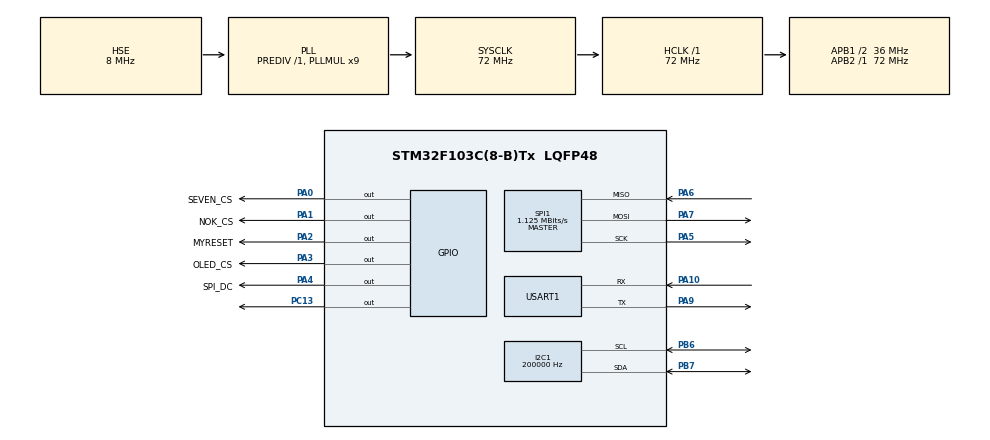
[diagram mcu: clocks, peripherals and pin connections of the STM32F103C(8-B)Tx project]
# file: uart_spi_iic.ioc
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Dma.Request0=USART1_TX
Dma.Request1=USART1_RX
Dma.Request2=SPI1_TX
Dma.Request3=SPI1_RX
Dma.SPI1_RX.3.Direction=DMA_PERIPH_TO_MEMORY
Dma.SPI1_RX.3.Instance=DMA1_Channel2
Dma.SPI1_RX.3.MemDataAlignment=DMA_MDATAALIGN_BYTE
Dma.SPI1_RX.3.MemInc=DMA_MINC_ENABLE
Dma.SPI1_RX.3.Mode=DMA_NORMAL
Dma.SPI1_RX.3.PeriphDataAlignment=DMA_PDATAALIGN_BYTE
Dma.SPI1_RX.3.PeriphInc=DMA_PINC_DISABLE
Dma.SPI1_RX.3.Priority=DMA_PRIORITY_LOW
Dma.SPI1_TX.2.Direction=DMA_MEMORY_TO_PERIPH
Dma.SPI1_TX.2.Instance=DMA1_Channel3
Dma.SPI1_TX.2.MemDataAlignment=DMA_MDATAALIGN_BYTE
Dma.SPI1_TX.2.MemInc=DMA_MINC_ENABLE
Dma.SPI1_TX.2.Mode=DMA_NORMAL
Dma.SPI1_TX.2.PeriphDataAlignment=DMA_PDATAALIGN_BYTE
Dma.SPI1_TX.2.PeriphInc=DMA_PINC_DISABLE
Dma.SPI1_TX.2.Priority=DMA_PRIORITY_LOW
Dma.USART1_RX.1.Direction=DMA_PERIPH_TO_MEMORY
Dma.USART1_RX.1.Instance=DMA1_Channel5
Dma.USART1_RX.1.MemDataAlignment=DMA_MDATAALIGN_BYTE
Dma.USART1_RX.1.MemInc=DMA_MINC_ENABLE
Dma.USART1_RX.1.Mode=DMA_NORMAL
Dma.USART1_RX.1.PeriphDataAlignment=DMA_PDATAALIGN_BYTE
Dma.USART1_RX.1.PeriphInc=DMA_PINC_DISABLE
Dma.USART1_RX.1.Priority=DMA_PRIORITY_LOW
Dma.USART1_TX.0.Direction=DMA_MEMORY_TO_PERIPH
Dma.USART1_TX.0.Instance=DMA1_Channel4
Dma.USART1_TX.0.MemDataAlignment=DMA_MDATAALIGN_BYTE
Dma.USART1_TX.0.MemInc=DMA_MINC_ENABLE
Dma.USART1_TX.0.Mode=DMA_NORMAL
Dma.USART1_TX.0.PeriphDataAlignment=DMA_PDATAALIGN_BYTE
Dma.USART1_TX.0.PeriphInc=DMA_PINC_DISABLE
Dma.USART1_TX.0.Priority=DMA_PRIORITY_LOW
I2C1.ClockSpeed=200000
I2C1.I2C_Mode=I2C_Fast
Mcu.Family=STM32F1
Mcu.Name=STM32F103C(8-B)Tx
Mcu.Package=LQFP48
NVIC.DMA1_Channel2_IRQn=true\:0\:0\:false\:false\:true
NVIC.DMA1_Channel3_IRQn=true\:0\:0\:false\:false\:true
NVIC.DMA1_Channel4_IRQn=true\:0\:0\:false\:false\:true
NVIC.DMA1_Channel5_IRQn=true\:0\:0\:false\:false\:true
NVIC.I2C1_ER_IRQn=true\:0\:0\:false\:false\:true
NVIC.I2C1_EV_IRQn=true\:0\:0\:false\:false\:true
NVIC.PriorityGroup=NVIC_PRIORITYGROUP_4
NVIC.SPI1_IRQn=true\:0\:0\:false\:false\:true
NVIC.USART1_IRQn=true\:0\:0\:false\:false\:true
PA0-WKUP.GPIO_Label=SEVEN_CS
PA0-WKUP.Signal=GPIO_Output
PA1.GPIO_Label=NOK_CS
PA1.Signal=GPIO_Output
PA10.Mode=Asynchronous
PA10.Signal=USART1_RX
PA13.Mode=Serial_Wire
PA13.Signal=SYS_JTMS-SWDIO
PA14.Mode=Serial_Wire
PA14.Signal=SYS_JTCK-SWCLK
PA2.GPIO_Label=MYRESET
PA2.Signal=GPIO_Output
PA3.GPIO_Label=OLED_CS
PA3.Signal=GPIO_Output
PA4.GPIO_Label=SPI_DC
PA4.Signal=GPIO_Output
PA5.Mode=Full_Duplex_Master
PA5.Signal=SPI1_SCK
PA6.Mode=Full_Duplex_Master
PA6.Signal=SPI1_MISO
PA7.Mode=Full_Duplex_Master
PA7.Signal=SPI1_MOSI
PA9.Mode=Asynchronous
PA9.Signal=USART1_TX
PB6.Mode=I2C
PB6.Signal=I2C1_SCL
PB7.Mode=I2C
PB7.Signal=I2C1_SDA
PC13-TAMPER-RTC.Signal=GPIO_Output
PD0-OSC_IN.Mode=HSE-External-Oscillator
PD0-OSC_IN.Signal=RCC_OSC_IN
PD1-OSC_OUT.Mode=HSE-External-Oscillator
PD1-OSC_OUT.Signal=RCC_OSC_OUT
ProjectManager.HeapSize=0x200
ProjectManager.StackSize=0x400
ProjectManager.TargetToolchain=Makefile
RCC.AHBFreq_Value=72000000
RCC.APB1CLKDivider=RCC_HCLK_DIV2
RCC.APB1Freq_Value=36000000
RCC.APB1TimFreq_Value=72000000
RCC.APB2Freq_Value=72000000
RCC.APB2TimFreq_Value=72000000
RCC.HCLKFreq_Value=72000000
RCC.PLLMUL=RCC_PLL_MUL9
RCC.PLLSourceVirtual=RCC_PLLSOURCE_HSE
RCC.SYSCLKFreq_VALUE=72000000
RCC.SYSCLKSource=RCC_SYSCLKSOURCE_PLLCLK
RCC.USBFreq_Value=72000000
SPI1.BaudRatePrescaler=SPI_BAUDRATEPRESCALER_64
SPI1.CalculateBaudRate=1.125 MBits/s
SPI1.Direction=SPI_DIRECTION_2LINES
SPI1.Mode=SPI_MODE_MASTER
SPI1.VirtualType=VM_MASTER
USART1.VirtualMode=VM_ASYNC
board=uart_spi_iic

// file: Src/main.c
/**
  ******************************************************************************
  * File Name          : main.c
  * Description        : Main program body
  ******************************************************************************
  ** This notice applies to any and all portions of this file
  * that are not between comment pairs USER CODE BEGIN and
  * USER CODE END. Other portions of this file, whether
  * inserted by the user or by software development tools
  * are owned by their respective copyright owners.
  *
  * COPYRIGHT(c) 2017 STMicroelectronics
  *
  * Redistribution and use in source and binary forms, with or without modification,
  * are permitted provided that the following conditions are met:
  *   1. Redistributions of source code must retain the above copyright notice,
  *      this list of conditions and the following disclaimer.
  *   2. Redistributions in binary form must reproduce the above copyright notice,
  *      this list of conditions and the following disclaimer in the documentation
  *      and/or other materials provided with the distribution.
  *   3. Neither the name of STMicroelectronics nor the names of its contributors
  *      may be used to endorse or promote products derived from this software
  *      without specific prior written permission.
  *
  * THIS SOFTWARE IS PROVIDED BY THE COPYRIGHT HOLDERS AND CONTRIBUTORS "AS IS"
  * AND ANY EXPRESS OR IMPLIED WARRANTIES, INCLUDING, BUT NOT LIMITED TO, THE
  * IMPLIED WARRANTIES OF MERCHANTABILITY AND FITNESS FOR A PARTICULAR PURPOSE ARE
  * DISCLAIMED. IN NO EVENT SHALL THE COPYRIGHT HOLDER OR CONTRIBUTORS BE LIABLE
  * FOR ANY DIRECT, INDIRECT, INCIDENTAL, SPECIAL, EXEMPLARY, OR CONSEQUENTIAL
  * DAMAGES (INCLUDING, BUT NOT LIMITED TO, PROCUREMENT OF SUBSTITUTE GOODS OR
  * SERVICES; LOSS OF USE, DATA, OR PROFITS; OR BUSINESS INTERRUPTION) HOWEVER
  * CAUSED AND ON ANY THEORY OF LIABILITY, WHETHER IN CONTRACT, STRICT LIABILITY,
  * OR TORT (INCLUDING NEGLIGENCE OR OTHERWISE) ARISING IN ANY WAY OUT OF THE USE
  * OF THIS SOFTWARE, EVEN IF ADVISED OF THE POSSIBILITY OF SUCH DAMAGE.
  *
  ******************************************************************************
  */
#include "main.h"
#include "stm32f1xx_hal.h"
#include "dma.h"
#include "i2c.h"
#include "spi.h"
#include "usart.h"
#include "gpio.h"

/* USER CODE BEGIN Includes */

#include "OLED.h"
#include "u8g2.h"

/* USER CODE END Includes */

/* USER CODE BEGIN PV */
/* Private variables ---------------------------------------------------------*/
u8g2_t u8g2_iic;
u8g2_t u8g2_spi;
u8g2_t u8g2_nokia;

const uint32_t update_interval = 1000;

#define UNUSEDVAR __attribute__ ((unused))

#define test_width 16
#define test_height 7
 UNUSEDVAR static const uint8_t test_bits[] = {
   0x13, 0x00,
   0x15, 0x00,
   0x93, 0xcd,
   0x55, 0xa5,
   0x93, 0xc5,
   0x00, 0x80,
   0x00, 0x60
 };

#define xlogo64_width 64
#define xlogo64_height 64
UNUSEDVAR static unsigned char xlogo64_bits[] = {
   0xff, 0xff, 0x00, 0x00, 0x00, 0x00, 0x00, 0xf8, 0xfe, 0xff, 0x01, 0x00,
   0x00, 0x00, 0x00, 0xf8, 0xfc, 0xff, 0x03, 0x00, 0x00, 0x00, 0x00, 0x7c,
   0xf8, 0xff, 0x07, 0x00, 0x00, 0x00, 0x00, 0x3e, 0xf8, 0xff, 0x07, 0x00,
   0x00, 0x00, 0x00, 0x1f, 0xf0, 0xff, 0x0f, 0x00, 0x00, 0x00, 0x80, 0x0f,
   0xe0, 0xff, 0x1f, 0x00, 0x00, 0x00, 0x80, 0x0f, 0xc0, 0xff, 0x3f, 0x00,
   0x00, 0x00, 0xc0, 0x07, 0xc0, 0xff, 0x3f, 0x00, 0x00, 0x00, 0xe0, 0x03,
   0x80, 0xff, 0x7f, 0x00, 0x00, 0x00, 0xf0, 0x01, 0x00, 0xff, 0xff, 0x00,
   0x00, 0x00, 0xf8, 0x00, 0x00, 0xfe, 0xff, 0x01, 0x00, 0x00, 0xf8, 0x00,
   0x00, 0xfe, 0xff, 0x01, 0x00, 0x00, 0x7c, 0x00, 0x00, 0xfc, 0xff, 0x03,
   0x00, 0x00, 0x3e, 0x00, 0x00, 0xf8, 0xff, 0x07, 0x00, 0x00, 0x1f, 0x00,
   0x00, 0xf0, 0xff, 0x0f, 0x00, 0x80, 0x0f, 0x00, 0x00, 0xf0, 0xff, 0x0f,
   0x00, 0xc0, 0x07, 0x00, 0x00, 0xe0, 0xff, 0x1f, 0x00, 0xc0, 0x07, 0x00,
   0x00, 0xc0, 0xff, 0x3f, 0x00, 0xe0, 0x03, 0x00, 0x00, 0x80, 0xff, 0x7f,
   0x00, 0xf0, 0x01, 0x00, 0x00, 0x80, 0xff, 0x7f, 0x00, 0xf8, 0x00, 0x00,
   0x00, 0x00, 0xff, 0xff, 0x00, 0x7c, 0x00, 0x00, 0x00, 0x00, 0xfe, 0xff,
   0x01, 0x7c, 0x00, 0x00, 0x00, 0x00, 0xfc, 0xff, 0x03, 0x3e, 0x00, 0x00,
   0x00, 0x00, 0xfc, 0xff, 0x03, 0x1f, 0x00, 0x00, 0x00, 0x00, 0xf8, 0xff,
   0x87, 0x0f, 0x00, 0x00, 0x00, 0x00, 0xf0, 0xff, 0xcf, 0x07, 0x00, 0x00,
   0x00, 0x00, 0xe0, 0xff, 0xcf, 0x07, 0x00, 0x00, 0x00, 0x00, 0xe0, 0xff,
   0xe7, 0x03, 0x00, 0x00, 0x00, 0x00, 0xc0, 0xff, 0xf3, 0x01, 0x00, 0x00,
   0x00, 0x00, 0x80, 0xff, 0xf9, 0x00, 0x00, 0x00, 0x00, 0x00, 0x00, 0xff,
   0xfc, 0x00, 0x00, 0x00, 0x00, 0x00, 0x00, 0x7f, 0xfe, 0x00, 0x00, 0x00,
   0x00, 0x00, 0x00, 0x7e, 0xfe, 0x01, 0x00, 0x00, 0x00, 0x00, 0x00, 0x3e,
   0xff, 0x03, 0x00, 0x00, 0x00, 0x00, 0x00, 0x9f, 0xff, 0x07, 0x00, 0x00,
   0x00, 0x00, 0x80, 0xcf, 0xff, 0x07, 0x00, 0x00, 0x00, 0x00, 0xc0, 0xe7,
   0xff, 0x0f, 0x00, 0x00, 0x00, 0x00, 0xc0, 0xe7, 0xff, 0x1f, 0x00, 0x00,
   0x00, 0x00, 0xe0, 0xc3, 0xff, 0x3f, 0x00, 0x00, 0x00, 0x00, 0xf0, 0xc1,
   0xff, 0x3f, 0x00, 0x00, 0x00, 0x00, 0xf8, 0x80, 0xff, 0x7f, 0x00, 0x00,
   0x00, 0x00, 0x7c, 0x00, 0xff, 0xff, 0x00, 0x00, 0x00, 0x00, 0x7c, 0x00,
   0xfe, 0xff, 0x01, 0x00, 0x00, 0x00, 0x3e, 0x00, 0xfe, 0xff, 0x01, 0x00,
   0x00, 0x00, 0x1f, 0x00, 0xfc, 0xff, 0x03, 0x00, 0x00, 0x80, 0x0f, 0x00,
   0xf8, 0xff, 0x07, 0x00, 0x00, 0xc0, 0x07, 0x00, 0xf0, 0xff, 0x0f, 0x00,
   0x00, 0xe0, 0x03, 0x00, 0xf0, 0xff, 0x0f, 0x00, 0x00, 0xe0, 0x03, 0x00,
   0xe0, 0xff, 0x1f, 0x00, 0x00, 0xf0, 0x01, 0x00, 0xc0, 0xff, 0x3f, 0x00,
   0x00, 0xf8, 0x00, 0x00, 0x80, 0xff, 0x7f, 0x00, 0x00, 0x7c, 0x00, 0x00,
   0x80, 0xff, 0x7f, 0x00, 0x00, 0x3e, 0x00, 0x00, 0x00, 0xff, 0xff, 0x00,
   0x00, 0x3e, 0x00, 0x00, 0x00, 0xfe, 0xff, 0x01, 0x00, 0x1f, 0x00, 0x00,
   0x00, 0xfc, 0xff, 0x03, 0x80, 0x0f, 0x00, 0x00, 0x00, 0xfc, 0xff, 0x03,
   0xc0, 0x07, 0x00, 0x00, 0x00, 0xf8, 0xff, 0x07, 0xe0, 0x03, 0x00, 0x00,
   0x00, 0xf0, 0xff, 0x0f, 0xe0, 0x03, 0x00, 0x00, 0x00, 0xe0, 0xff, 0x1f,
   0xf0, 0x01, 0x00, 0x00, 0x00, 0xe0, 0xff, 0x1f, 0xf8, 0x00, 0x00, 0x00,
   0x00, 0xc0, 0xff, 0x3f, 0x7c, 0x00, 0x00, 0x00, 0x00, 0x80, 0xff, 0x7f,
   0x3e, 0x00, 0x00, 0x00, 0x00, 0x00, 0xff, 0xff};

// convert lydia.jpg -crop 64x64 -monochrome -negate lydia.xbm
#define lydia_width 64
#define lydia_height 64
static unsigned char lydia_bits[] = {
  0xE0, 0xFF, 0xFF, 0xFF, 0xFF, 0xFF, 0xFF, 0xFF, 0xF0, 0xFF, 0xFF, 0xFF,
  0xFF, 0xFF, 0xDF, 0xFF, 0xF0, 0xFF, 0xFF, 0xFF, 0xFF, 0xFF, 0xFF, 0xFF,
  0xF8, 0xFF, 0xFF, 0xFF, 0xFF, 0xFF, 0xFF, 0xFF, 0xFC, 0xFF, 0xFF, 0xFF,
  0xFF, 0xFF, 0xFF, 0xFF, 0xFE, 0xFF, 0xFF, 0xFF, 0xFF, 0xFF, 0xFF, 0xFF,
  0xFF, 0xFF, 0xFF, 0xFF, 0xFF, 0xFF, 0xFF, 0xFF, 0xFF, 0xFF, 0xFF, 0xFF,
  0xFF, 0xFF, 0xFF, 0xFF, 0xFF, 0xFF, 0xFF, 0xFF, 0xDF, 0xFF, 0xFF, 0xFF,
  0xFF, 0xFF, 0x7F, 0xAB, 0xFA, 0xF7, 0xFF, 0xFF, 0xFF, 0xFF, 0xFF, 0xBA,
  0xFF, 0xFD, 0xFF, 0xFF, 0xFF, 0xFF, 0xFF, 0xDF, 0x6A, 0xFF, 0xFF, 0xFF,
  0xFF, 0xFF, 0xFF, 0x2F, 0xF5, 0xFF, 0xFF, 0xFF, 0xFF, 0xFF, 0xFE, 0xF5,
  0xF7, 0xFF, 0xFF, 0xFF, 0xFF, 0xFF, 0xEB, 0xDE, 0xEA, 0xFF, 0xFF, 0xFF,
  0xFF, 0xD7, 0xAE, 0x37, 0xFF, 0xFF, 0xFF, 0xFF, 0xFF, 0x5B, 0x7B, 0xB3,
  0xF7, 0xFF, 0xFF, 0xFF, 0xFF, 0xA5, 0xDD, 0xDE, 0xFC, 0xFF, 0xFF, 0xFF,
  0x7F, 0xDA, 0xFF, 0x4F, 0xFD, 0xFF, 0xFF, 0xFF, 0xFF, 0xA5, 0xFB, 0xBB,
  0xFE, 0xFF, 0xFF, 0xFF, 0xFF, 0xEA, 0xFF, 0x67, 0xFD, 0xFF, 0xFF, 0xFF,
  0x7F, 0xD6, 0xFF, 0xBF, 0xFA, 0xFF, 0xFF, 0xFF, 0x3F, 0xF0, 0xFF, 0xBF,
  0xFE, 0xFF, 0xFF, 0xFF, 0xBF, 0xEC, 0xFF, 0xDF, 0xF9, 0xFF, 0xFF, 0xFF,
  0x7F, 0x18, 0xF9, 0x6B, 0xFA, 0xFF, 0xED, 0xFF, 0x7F, 0x40, 0xA6, 0xBF,
  0xF6, 0xFF, 0xFF, 0xFF, 0x7F, 0x00, 0x96, 0x9B, 0xFB, 0xFF, 0xFF, 0xFF,
  0x3F, 0x00, 0xFD, 0x5A, 0xFE, 0xFF, 0xFB, 0xFF, 0x3F, 0x00, 0xB4, 0xD5,
  0xFE, 0x7F, 0xFA, 0xFF, 0x3F, 0x00, 0xD8, 0x1A, 0xFB, 0xFF, 0xFF, 0xFF,
  0x7F, 0x00, 0x62, 0xC3, 0xFA, 0xFF, 0xFB, 0xFF, 0x7F, 0x00, 0x98, 0x00,
  0xFD, 0xFF, 0xFA, 0xFF, 0x7F, 0x00, 0xA0, 0x04, 0xF4, 0x7F, 0x77, 0xFF,
  0x3F, 0x00, 0x40, 0x23, 0xA0, 0xFF, 0xE9, 0xFF, 0x3F, 0x00, 0x98, 0x02,
  0xCC, 0x7F, 0xFE, 0xFF, 0x3F, 0x00, 0x60, 0x05, 0xF0, 0xFF, 0xA5, 0xFF,
  0x3F, 0x00, 0xC0, 0xC2, 0xEB, 0xBE, 0xE9, 0xFF, 0x7F, 0x00, 0x58, 0x81,
  0xF0, 0xFF, 0xAE, 0xFF, 0x3F, 0x00, 0xF8, 0x01, 0xE0, 0x7F, 0xF5, 0xFF,
  0x3F, 0x00, 0x22, 0x00, 0xF4, 0xFF, 0xAA, 0xFF, 0x7F, 0x00, 0x34, 0x40,
  0xF4, 0xFF, 0xE5, 0xFF, 0x7F, 0x00, 0x5A, 0x00, 0xA9, 0xFB, 0xBB, 0xFF,
  0x3F, 0x00, 0x24, 0x00, 0x64, 0xFF, 0xA7, 0xFF, 0x7F, 0x00, 0x5A, 0x00,
  0xD9, 0xFF, 0xE5, 0xFF, 0xFF, 0x00, 0x1A, 0x00, 0xFA, 0xFF, 0x67, 0xFF,
  0x7F, 0x80, 0xAD, 0xB6, 0xFA, 0xFF, 0xE7, 0xFF, 0xFF, 0x00, 0xF8, 0xA5,
  0xED, 0xFA, 0xD7, 0xFF, 0x7F, 0x00, 0xFE, 0x01, 0xA8, 0xFF, 0xE7, 0xFF,
  0xFF, 0x01, 0xDE, 0x03, 0x00, 0xFF, 0xE3, 0xFF, 0xFF, 0x01, 0xA8, 0x07,
  0xC0, 0xFF, 0xDB, 0xFF, 0xFF, 0x03, 0x3E, 0x06, 0xFC, 0xFF, 0xF7, 0xFF,
  0xFF, 0x03, 0x00, 0x20, 0xAA, 0xFF, 0xFF, 0xFF, 0xFF, 0x07, 0x0D, 0x80,
  0xED, 0xFF, 0xF7, 0xFF, 0xFF, 0x8F, 0x00, 0x00, 0xF6, 0xFF, 0xF9, 0xFF,
  0xFF, 0x1F, 0x00, 0xC0, 0xD5, 0xFF, 0xFF, 0xFF, 0xFF, 0x5F, 0x02, 0x00,
  0xDA, 0xFF, 0xFF, 0xFF, 0xFF, 0xFF, 0x00, 0x00, 0x6A, 0xFE, 0xFF, 0xFF,
  0xFF, 0xFF, 0x01, 0x00, 0x95, 0xFF, 0xFF, 0xFF, 0xFF, 0xFF, 0x01, 0x00,
  0xEC, 0xF6, 0xFF, 0xFF, 0xFF, 0xFF, 0x1F, 0x00, 0x40, 0xFF, 0xFF, 0xFF,
  0xFF, 0xFF, 0x0F, 0x00, 0xB0, 0xFF, 0xFF, 0xFF, 0xFF, 0xFF, 0x3F, 0x00,
  0x80, 0xFE, 0xFF, 0xFF, 0xFE, 0xFF, 0x7F, 0x00, 0xA8, 0xFF, 0xFF, 0xFF,
  0xFF, 0xFF, 0xFF, 0x00, 0x90, 0xFF, 0xFF, 0xFF, };

/* USER CODE END PV */

void SystemClock_Config(void);

/* USER CODE BEGIN PFP */
/* Private function prototypes -----------------------------------------------*/

/* USER CODE END PFP */

/* USER CODE BEGIN 0 */
void delayLoop() {
        volatile uint32_t delayCount = 10000; // volatile, um "Wegoptimieren" zu vermeinden
                                               //(http://en.wikipedia.org/wiki/Volatile_variable)
        while (delayCount > 0) {
                delayCount--;
        }
}

void HAL_UART_TxCpltCallback(UART_HandleTypeDef *huart)
{
  HAL_UART_StateTypeDef state = HAL_UART_GetState(huart);
  if (state == HAL_UART_STATE_READY) {

  } else {

  }
}

void HAL_SPI_TxCpltCallback(SPI_HandleTypeDef *hspi)
{
  HAL_SPI_StateTypeDef state = HAL_SPI_GetState(hspi);
  if (state == HAL_SPI_STATE_READY) {

  } else {

  }

}

void byte_at_string(uint8_t *str, int i)
{

  str[2] = '0' + i%10;
  str[1] = '0' + (i/10)%10;
  str[0] = '0' + (i/100)%10;

}
void btoa(uint8_t i, uint8_t *str)
{
  str[2] = '0' + i%10;
  str[1] = '0' + (i/10)%10;
  str[0] = '0' + (i/100)%10;
}

void itoa(uint32_t i, uint8_t *str)
{
  str[4] = '0' + i%10;
  str[3] = '0' + (i/10)%10;
  str[2] = '0' + (i/100)%10;
  str[1] = '0' + (i/1000)%10;
  str[0] = '0' + (i/10000)%10;
}

void hex_at_string(uint8_t *str, int i)
{
  uint8_t lower = i&0xF;
  uint8_t upper = (i&0xF0) >> 4;

  if (lower < 10) {
    str[1] = '0' + lower;
  } else {
    str[1] = 'A' + lower - 10;
  }
  if (upper < 10) {
    str[0] = '0' + upper;
  } else {
    str[0] = 'A' + upper - 10;
  }
}

int my_I2C_GET_FLAG(I2C_HandleTypeDef* __HANDLE__,
                    uint32_t __FLAG__)
{
  // #define I2C_FLAG_BUSY                   ((uint32_t)0x0010 0002)
  // #define I2C_FLAG_MASK                   ((uint32_t)0x0000 FFFF)
  if (((uint8_t)((__FLAG__) >> 16)) == 0x01) {
    return (__HANDLE__->Instance->SR1 & __FLAG__ & I2C_FLAG_MASK) == (__FLAG__ & I2C_FLAG_MASK);
  } else {
    return (__HANDLE__->Instance->SR2 & __FLAG__ & I2C_FLAG_MASK) == (__FLAG__ & I2C_FLAG_MASK);
  }
}

void sendUARTmsgPoll(uint8_t *msg, uint16_t length) {
  while (HAL_UART_GetState(&huart1) != HAL_UART_STATE_READY) {/*empty*/}
  HAL_UART_Transmit(&huart1, msg, length, HAL_MAX_DELAY);

}

uint32_t amountsent =0;
//extern "C"

uint8_t
u8x8_byte_my_hw_i2c(
  U8X8_UNUSED u8x8_t *u8x8,
  U8X8_UNUSED uint8_t msg,
  U8X8_UNUSED uint8_t arg_int,
  U8X8_UNUSED void *arg_ptr)
{
#define MAX_LEN 32
  static uint8_t vals[MAX_LEN];
  static uint8_t length=0;

  U8X8_UNUSED uint8_t *args = arg_ptr;
  switch(msg)  {
  case U8X8_MSG_BYTE_SEND: {
    if ((arg_int+length) <= MAX_LEN) {
      for(int i=0; i<arg_int; i++) {
        vals[length] = args[i];
        length++;
      }
    } else {
      uint8_t umsg[] = "MSG_BYTE_SEND arg too long xxx\n";
      byte_at_string(umsg+27, arg_int);
      sendUARTmsgPoll(umsg, sizeof(umsg));
    }
    uint8_t umsg[] = "MSG_BYTE_SEND 0xxx\n";
    // 00 AE = display off
    // 00 D5 = set display clock
    // 00 80    divide ratio
    // 00 A8 = set multiplex ratio
    // 00 3F    64 mux
    // 00 D3 = set display offset
    // 00 00
    // 00 40 - 00 7F set display start line

    hex_at_string(umsg+16, args[0]);
    //sendUARTmsgPoll(umsg, sizeof(umsg));
    break;
  }
  case U8X8_MSG_BYTE_INIT: {
    uint8_t umsg[] = "MSG_BYTE_INIT xxx\n";
    byte_at_string(umsg+14, arg_int);
    //sendUARTmsgPoll(umsg, sizeof(umsg));
    break;
  }
  case U8X8_MSG_BYTE_SET_DC: {
    uint8_t umsg[] = "MSG_BYTE_SET_DC xxx\n";
    byte_at_string(umsg+15, arg_int);
    sendUARTmsgPoll(umsg, sizeof(umsg));
    break;
  }
  case U8X8_MSG_BYTE_START_TRANSFER: {
    UNUSEDVAR uint8_t umsg[] = "MSG_BYTE_START\n";
    //sendUARTmsgPoll(umsg, sizeof(umsg));
    length = 0;
    break;
  }
  case U8X8_MSG_BYTE_END_TRANSFER: {
    UNUSEDVAR uint8_t umsg[] = "MSG_BYTE_END xxxxx\n";
    itoa(length, umsg+13);
    //sendUARTmsgPoll(umsg, sizeof(umsg));
    while(HAL_I2C_GetState (&hi2c1) != HAL_I2C_STATE_READY) { /* empty */ }
    const uint8_t addr = 0x78;
    HAL_I2C_Master_Transmit(&hi2c1, addr, vals, length, 10);
    amountsent+= length;
    break;
  }
  default: {
    uint8_t umsg[] = "MSG_BYTE_DEFAULT xxx\n";
    byte_at_string(umsg+17, arg_int);
    //sendUARTmsgPoll(umsg, sizeof(umsg));
    return 0;
  }
  }
  return 1;
}

// a typical sequence for init display
// U8X8_MSG_BYTE_INIT

uint8_t
u8x8_byte_my_hw_spi(
  U8X8_UNUSED u8x8_t *u8x8,
  U8X8_UNUSED uint8_t msg,
  U8X8_UNUSED uint8_t arg_int,
  U8X8_UNUSED void *arg_ptr,
  GPIO_TypeDef *CSPORT,
  uint32_t      CSSET,
  uint32_t      CSRESET
  )
{
  const uint8_t senduart = 0;

  U8X8_UNUSED uint8_t *args = arg_ptr;
  switch(msg)  {
  case U8X8_MSG_BYTE_SEND: {
    while(HAL_SPI_GetState (&hspi1) != HAL_SPI_STATE_READY) { /* empty */ }
    HAL_SPI_Transmit (&hspi1, arg_ptr, arg_int, HAL_MAX_DELAY);
    amountsent+= arg_int;

    if (senduart) {
      uint8_t umsg[] = "MSG_BYTE_SEND xxx\n";
      byte_at_string(umsg+14, arg_int);
      sendUARTmsgPoll(umsg, sizeof(umsg));
    }
    if (senduart) {
      uint8_t umsg[] = "MSG_BYTE_SEND 0xxx\n";
      // 00 AE = display off
      // 00 D5 = set display clock
      // 00 80    divide ratio
      // 00 A8 = set multiplex ratio
      // 00 3F    64 mux
      // 00 D3 = set display offset
      // 00 00
      // 00 40 - 00 7F set display start line
      hex_at_string(umsg+16, args[0]);
      sendUARTmsgPoll(umsg, sizeof(umsg));
    }

    break;
  }
  case U8X8_MSG_BYTE_INIT: {
    if (senduart) {
      uint8_t umsg[] = "MSG_BYTE_INIT xxx\n";
      byte_at_string(umsg+14, arg_int);
      sendUARTmsgPoll(umsg, sizeof(umsg));
    }
    break;
  }
  case U8X8_MSG_BYTE_SET_DC: {
    if (arg_int) {
      GPIOA->BSRR = GPIO_BSRR_BS4;
    } else {
      GPIOA->BSRR = GPIO_BSRR_BR4;
    }
    if (senduart) {
      uint8_t umsg[] = "MSG_BYTE_SET_DC xxx\n";
      byte_at_string(umsg+16, arg_int);
      sendUARTmsgPoll(umsg, sizeof(umsg));
    }
    break;
  }
  case U8X8_MSG_BYTE_START_TRANSFER: {
    CSPORT->BSRR = CSRESET;

    if (senduart) {
      UNUSEDVAR uint8_t umsg[] = "MSG_BYTE_START\n";
      sendUARTmsgPoll(umsg, sizeof(umsg));
    }
    break;
  }
  case U8X8_MSG_BYTE_END_TRANSFER: {
    CSPORT->BSRR = CSSET;
    if (senduart) {
      UNUSEDVAR uint8_t umsg[] = "MSG_BYTE_END\n";
      sendUARTmsgPoll(umsg, sizeof(umsg));
    }
    break;
  }
  default: {
    if (senduart) {
      uint8_t umsg[] = "MSG_BYTE_DEFAULT xxx\n";
      byte_at_string(umsg+17, arg_int);
      sendUARTmsgPoll(umsg, sizeof(umsg));
    }
    return 0;
  }
  }
  return 1;
}

uint8_t
u8x8_byte_my_hw_spi_oled(
  U8X8_UNUSED u8x8_t *u8x8,
  U8X8_UNUSED uint8_t msg,
  U8X8_UNUSED uint8_t arg_int,
  U8X8_UNUSED void *arg_ptr)
{
  return u8x8_byte_my_hw_spi(u8x8, msg, arg_int, arg_ptr,
                             OLED_CS_GPIO_Port, GPIO_BSRR_BS3, GPIO_BSRR_BR3);
}
uint8_t
u8x8_byte_my_hw_spi_nokia(
  U8X8_UNUSED u8x8_t *u8x8,
  U8X8_UNUSED uint8_t msg,
  U8X8_UNUSED uint8_t arg_int,
  U8X8_UNUSED void *arg_ptr)
{
  return u8x8_byte_my_hw_spi(u8x8, msg, arg_int, arg_ptr,
                             NOK_CS_GPIO_Port, GPIO_BSRR_BS1, GPIO_BSRR_BR1);
}

uint8_t u8x8_gpio_and_delay_mine(u8x8_t *u8x8, uint8_t msg, uint8_t arg_int, void *arg_ptr)
{
  UNUSEDVAR uint8_t umsg[] = "calling gpio and delay\n";
  //sendUARTmsgPoll(umsg, sizeof(umsg));

  switch(msg)
  {
    case U8X8_MSG_GPIO_AND_DELAY_INIT:
      /* only support for software I2C*/

      break;
    case U8X8_MSG_DELAY_NANO:
      /* not required for SW I2C */
      break;

    case U8X8_MSG_DELAY_10MICRO:
      /* not used at the moment */
      break;

    case U8X8_MSG_DELAY_100NANO:
      /* not used at the moment */
      break;

    case U8X8_MSG_DELAY_MILLI:
      //delay_micro_seconds(arg_int*1000UL);
      break;
    case U8X8_MSG_DELAY_I2C:
      /* arg_int is 1 or 4: 100KHz (5us) or 400KHz (1.25us) */
      //delay_micro_seconds(arg_int<=2?5:1);
      break;

    case U8X8_MSG_GPIO_I2C_CLOCK:

      break;
    case U8X8_MSG_GPIO_I2C_DATA:

      break;
/*
    case U8X8_MSG_GPIO_MENU_SELECT:
      u8x8_SetGPIOResult(u8x8, Chip_GPIO_GetPinState(LPC_GPIO, KEY_SELECT_PORT, KEY_SELECT_PIN));
      break;
    case U8X8_MSG_GPIO_MENU_NEXT:
      u8x8_SetGPIOResult(u8x8, Chip_GPIO_GetPinState(LPC_GPIO, KEY_NEXT_PORT, KEY_NEXT_PIN));
      break;
    case U8X8_MSG_GPIO_MENU_PREV:
      u8x8_SetGPIOResult(u8x8, Chip_GPIO_GetPinState(LPC_GPIO, KEY_PREV_PORT, KEY_PREV_PIN));
      break;

    case U8X8_MSG_GPIO_MENU_HOME:
      u8x8_SetGPIOResult(u8x8, Chip_GPIO_GetPinState(LPC_GPIO, KEY_HOME_PORT, KEY_HOME_PIN));
      break;
*/
    default:
      //u8x8_SetGPIOResult(u8x8, 1);
      break;
  }
  return 1;
}

void HAL_SYSTICK_Callback(void)
{
  static uint8_t ledon = 1;
  if ((HAL_GetTick() % 1000) == 0) {
    if (ledon) {
      GPIOC->ODR |= GPIO_PIN_13;
    } else {
      GPIOC->ODR &= ~(GPIO_PIN_13);
    }
    ledon = !ledon;
  }
}

typedef enum {
  HI_WORLD,
  LYDIA_PIC,
  STOCK_U8G2,
  TIMECODE,
  LINES,
  LAST_IMG
} IMGS;

// strlen is: for each of sec,min,hour=6 and two :s=8 total
void tick_to_time(uint32_t curtime, char str[8])
{

  uint8_t seconds = curtime/1000 % 60;
  str[7] = '0' + (seconds % 10);
  str[6] = '0' + (seconds / 10);

  str[5] = ':';

  uint8_t minutes = (curtime/1000 / 60) % 60;
  str[4] = '0' + (minutes % 10);
  str[3] = '0' + (minutes / 10);

  str[2] = ':';

  uint8_t hours = (curtime/1000 / 60 / 60);
  str[1] = '0' + (hours % 10);
  str[0] = '0' + (hours / 10);

}

void Refresh_OLED(u8g2_t *u8g2, IMGS img)
{
  u8g2_ClearBuffer(u8g2);
  uint32_t curtime = HAL_GetTick();

  while(HAL_SPI_GetState (&hspi1) != HAL_SPI_STATE_READY) { /* empty */ }

  int pagenum = 0;
  u8g2_FirstPage(u8g2);
  do {
    pagenum++;

    //u8g2_SetContrast(u8g2, 255);
    switch (img) {
    case HI_WORLD:
      u8g2_SetFont(u8g2, u8g2_font_ncenB14_tr);
      u8g2_DrawStr(u8g2, 0,24,"Hi World!");
      break;

    case LYDIA_PIC:
      //u8g2_DrawBox(u8g2, 10,20, 20, 30);
      u8g2_SetFont(u8g2, u8g2_font_ncenB14_tr);
      //u8g2_DrawStr(u8g2, 0,15,"This World!");
      //u8g2_DrawStr(u8g2, 0,30,"Other World!");
      //u8g2_DrawXBM(u8g2, 0, 20, LOGO16_GLCD_WIDTH, LOGO16_GLCD_HEIGHT, logo16_glcd_bmp);

      // set color to zero. the bitmap I have would otherwise be negative.
      u8g2_SetDrawColor(u8g2, 0);
      u8g2_DrawXBM(u8g2, 0, 0, lydia_width, lydia_height, lydia_bits);
      u8g2_DrawXBM(u8g2, 64, 0, xlogo64_width, xlogo64_height, xlogo64_bits);
      break;

    case STOCK_U8G2:
      u8g2_SetDrawColor(u8g2, 1);
      u8g2_SetFontMode(u8g2, 1);	// Transparent
      u8g2_SetFontDirection(u8g2, 0);
      u8g2_SetFont(u8g2, u8g2_font_inb24_mf);
      u8g2_DrawStr(u8g2, 0, 30, "U");

      u8g2_SetFontDirection(u8g2, 1);
      u8g2_SetFont(u8g2, u8g2_font_inb30_mn);
      u8g2_DrawStr(u8g2, 21,8,"8");

      u8g2_SetFontDirection(u8g2, 0);
      u8g2_SetFont(u8g2, u8g2_font_inb24_mf);
      u8g2_DrawStr(u8g2, 51,30,"g");
      u8g2_DrawStr(u8g2, 67,30,"\xb2");

      u8g2_DrawHLine(u8g2, 2, 35, 47);
      u8g2_DrawHLine(u8g2, 3, 36, 47);
      u8g2_DrawVLine(u8g2, 45, 32, 12);
      u8g2_DrawVLine(u8g2, 46, 33, 12);

      u8g2_SetFont(u8g2, u8g2_font_4x6_tr);
      u8g2_DrawStr(u8g2, 1,54,"github.com/olikraus/u8g2");
      break;

    case TIMECODE: {
      int y = 12;
      u8g2_SetDrawColor(u8g2, 1);
      u8g2_SetFontMode(u8g2, 1);	// Transparent
      u8g2_SetFontDirection(u8g2, 0);
      u8g2_SetFont(u8g2, u8g2_font_9x15_mn);
      char time[8];
      tick_to_time(curtime, time);
      u8g2_DrawStr(u8g2, 0, y, time);

      const int fract_x = 7;
      const int fract_y = 4;
      y+= fract_y;

      int fractional = (curtime % 1000) * 66 / 1000;
      int x = (fractional%10)*fract_x;
      y+= fractional/10*fract_y;
      u8g2_DrawBox(u8g2, x, y, fract_x, fract_y);

      break;
    }

    case LINES: {
      int steps = 16;
      int dx = 128/steps;
      int dy = 64/steps;
      int y = 0;
      for(int x=0; x<128; x+=dx) {
        u8g2_DrawLine(u8g2, x, 0, 127, y);
        u8g2_DrawLine(u8g2, 127-x, 63, 0, 63-y);
        y+=dy;
      }
    }

    default:
      break;

    }

    //NextPage calls SendBuffer
    //u8g2_SendBuffer(u8g2);

    // when drawing the time, lets just do the first two pages
    if (img==TIMECODE && pagenum>=2) {
      //return;
    }
  } while ( u8g2_NextPage(u8g2) );

}

typedef enum {
  DIGIT_0 = 0x1,
  DIGIT_1 = 0x2,
  DIGIT_2 = 0x3,
  DIGIT_3 = 0x4,
  DIGIT_4 = 0x5,
  DIGIT_5 = 0x6,
  DIGIT_6 = 0x7,
  DIGIT_7 = 0x8,

  DECODE_MODE = 0x9,
  INTENSITY   = 0xA,
  SCAN_LIMIT  = 0xB,
  SHUTDOWN    = 0xC,
  DISPLAY_TEST= 0xF
} MAX7219_COMMAND;

static inline
void
send_max7219_value(MAX7219_COMMAND cmd, uint8_t value)
{
  /* The data is then latched into either the digit or control
     registers on the rising edge of LOAD/CS. LOAD/CS must go high
     concurrently with or after the 16th rising clock edge, but before
     the next rising clock edge or data will be lost. */

  // with the BSRR registers, the lower 16 bits are set bits, the upper
  // 16 are reset.
  // reset CS pin
  SEVEN_CS_GPIO_Port->BSRR = SEVEN_CS_Pin << 16;

  // for the command (upper bits), then the value.
  uint8_t command[2] = { cmd, value };

  while(HAL_SPI_GetState (&hspi1) != HAL_SPI_STATE_READY) { /* empty */ }
  HAL_SPI_Transmit (&hspi1, command, sizeof(command), HAL_MAX_DELAY);
  // set CS pin, causing a rising edge.
  SEVEN_CS_GPIO_Port->BSRR = SEVEN_CS_Pin;

  // Before the hardware reminded me that I need a CS edge for every command,
  // I initially wrote this function to return a uint16. I then wanted to send
  // all the bits a once. Being used to programming PCs on Intel architecture
  // I got a lesson in endianness. With Intel, little endian, casting values
  // works fine. in big endian, the bytes need to move around.
  // Since I don't think this affected me before, I'm leaving these comment in.
  // although we are sending 16 bit register values, the transmit
  // function looks at 8 bit vales.
  // since we're return a 16 bit value to a big endian system, the values
  // need to be swapped.
  // return (value << 8) | (cmd & 0xFF);
}

void
seven_segment_init()
{

  /* Data bits are labeled D0–D15 (Table 1). D8–D11 contain the register
     address. D0–D7 contain the data, and D12–D15 are “don’t care”
     bits. The first received is D15, the most significant bit (MSB). */

  /* D15-D12       D11-D8   D7-D0
     Don't care    Address  MSB Data LSB */

  /* Power up
     On initial power-up, all control registers are reset, the display
     is blanked, and the MAX7219/MAX7221 enter shutdown mode. Program the
     display driver prior to display use. Otherwise, it will initially be
     set to scan one digit, it will not decode data in the data registers,
     and the intensity register will be set to its minimum value.
  */

  /* Decode mode
     The decode-mode register sets BCD code B (0-9, E, H, L, P, and -)
     or no-decode operation for each digit. Each bit in the register
     corresponds to one digit. A logic high selects code B decoding
     while logic low bypasses the decoder.

     When the code B decode mode is used, the decoder looks only at
     the lower nibble of the data in the digit registers (D3–D0),
     disregarding bits D4–D6. D7, which sets the decimal point (SEG
     DP), is independent of the decoder and is positive logic (D7 = 1
     turns the decimal point on).

     In decode mode, the values 0-9 will display 0-9.
     the values 10-15 correspond to -,E,H,L,P,<blank>
  */

  // turn on decode mode for all 8.
  send_max7219_value(DECODE_MODE, 0xFF);

  /* intensity control
     Digital control of display brightness is provided by an internal
     pulse-width modulator, which is controlled by the lower nibble of
     the intensity register. The modulator scales the average segment
     current in 16 steps from a maximum of 31/32 down to 1/32 of the
     peak current set by RS

     for MAX7219
     data value 0x0 corresponds to 1/32 on.
     intensity goes up in 2/32 increments.
     up to 1/32+ 15*2/32 = 31/32 @ value 0xF
  */

  // set intensity to full
  send_max7219_value(INTENSITY, 0x7);

  /* scan-limit register
     not doing anything interesting with this register.
     setting it to scan all digits.
     format is:
     value 0 -> only scan digit 0
     value N -> only scan digit 0-N
     value 7 -> scan all.
  */
  send_max7219_value(SCAN_LIMIT, 0x7);

  /* display-test register
     value 0 - normal operation
     value 1 - display test mode
   */
  send_max7219_value(DISPLAY_TEST, 0x0);

  /* no-op register
     The no-op register is used when cascading MAX7219s or
     MAX7221s. Connect all devices’ LOAD/CS inputs together and
     connect DOUT to DIN on adjacent devices.

     For example, if four MAX7219s are cascaded, then to write to the
     fourth chip, sent the desired 16-bit word, followed by three
     no-op codes (hex 0xXX0X, see Table 2). When LOAD/CS goes high,
     data is latched in all devices. The first three chips receive
     no-op commands, and the fourth receives the intended data.
  */

  /* shutdown
     When the MAX7219 is in shutdown mode, the scan oscil-lator is
     halted, all segment current sources are pulled to ground, and
     all digit drivers are pulled to V+, thereby blanking the
     display.
     Data in the digit and control registers remains
     unaltered. Shutdown can be used to save power or as an alarm to
     flash the display by successively entering and leaving shutdown
     mode.
     Typically, it takes less than 250μs for the MAX7219/ MAX7221 to
     leave shutdown mode. The display driver can be programmed while
     in shutdown mode, and shutdown mode can be overridden by the
     display-test function.

     Shutdown mode -    data = 0
     normal operation - data = 1
  */
  send_max7219_value(SHUTDOWN, 0x1);

}

void
seven_segment_display(uint8_t values[8])
{
  for(int i=0; i<8; i++) {
    if ((i==2) || (i==4) || (i==6)) {
      // position 7 is the decimal point.
      send_max7219_value(DIGIT_0+i, values[i] | (1<<7));
    } else {
      send_max7219_value(DIGIT_0+i, values[i]);
    }
  }
}

/* USER CODE END 0 */

int main(void)
{

  /* MCU Configuration----------------------------------------------------------*/

  /* Reset of all peripherals, Initializes the Flash interface and the Systick. */
  HAL_Init();

  /* Configure the system clock */
  SystemClock_Config();

  /* Initialize all configured peripherals */
  MX_GPIO_Init();
  MX_DMA_Init();
  MX_USART1_UART_Init();
  MX_SPI1_Init();
  MX_I2C1_Init();

  /* USER CODE BEGIN 2 */
  UNUSEDVAR uint8_t themessage[] = "E.T. is phoning home. Anyone there? Be sure to check spi\n";
  UNUSEDVAR uint8_t theothermessage[] = "Hey. I hate to interrupt, but...\n";
  UNUSEDVAR uint8_t spimessage[] = "This is a secret side message over spi\n";
  UNUSEDVAR uint8_t elapsedmessage[] = "time elapsed to draw xxx xxxxx xxx\n";

  /* USER CODE END 2 */

  /* Infinite loop */
  /* USER CODE BEGIN WHILE */
  UNUSEDVAR uint8_t uart_poll = 1;
  UNUSEDVAR uint8_t spi_poll = 1;
  //uint8_t text_size = 0;
  uint8_t phase = 0;

  uint8_t seven_seg_values[8] = { 0, 1, 2, 3,
                                  4, 5, 6, 7 };
  seven_segment_init();
  seven_segment_display(seven_seg_values);

  u8g2_Setup_ssd1306_i2c_128x64_noname_1(&u8g2_iic,
                                         U8G2_R0,
                                         u8x8_byte_my_hw_i2c,
                                         u8x8_gpio_and_delay_mine);
  u8g2_InitDisplay(&u8g2_iic); // send init sequence to the display, display is in sleep mode after this,
  u8g2_SetPowerSave(&u8g2_iic, 0); // wake up display

  // reset the spi oled
  GPIOA->BSRR = GPIO_BSRR_BR2;
  delayLoop();
  GPIOA->BSRR = GPIO_BSRR_BS2;

  u8g2_Setup_ssd1306_128x64_noname_f(&u8g2_spi,
                                         U8G2_R0,
                                         u8x8_byte_my_hw_spi_oled,
                                         u8x8_gpio_and_delay_mine);

  u8g2_InitDisplay(&u8g2_spi); // send init sequence to the display, display is in sleep mode after this,
  u8g2_SetPowerSave(&u8g2_spi, 0); // wake up display

  u8g2_Setup_pcd8544_84x48_f(&u8g2_nokia,
                             U8G2_R0,
                             u8x8_byte_my_hw_spi_nokia,
                             u8x8_gpio_and_delay_mine);
  u8g2_InitDisplay(&u8g2_nokia); // send init sequence to the display, display is in sleep mode after this,
  u8g2_SetPowerSave(&u8g2_nokia, 0); // wake up display

  { uint8_t umsg[] = "done with init\n"; sendUARTmsgPoll(umsg, sizeof(umsg)); }

  UNUSEDVAR uint32_t myfreq = HAL_RCC_GetSysClockFreq();
  UNUSEDVAR uint32_t mysize = * (uint32_t*) FLASHSIZE_BASE;
  UNUSEDVAR uint32_t myid   = * (uint32_t*) UID_BASE;

  uint32_t last_update = 0;
  //InitOled();
  //OLED_Fill(0);
  uint8_t lasttime = 0;
  uint8_t do_oled_nok = 1;
  while (1)
  {
  /* USER CODE END WHILE */

  /* USER CODE BEGIN 3 */
    // p HAL_I2C_GetState (&hi2c1)
    // p __HAL_I2C_GET_FLAG(&hi2c1, I2C_FLAG_BUSY)

    uint32_t curtime = HAL_GetTick();

    //OLED_ShowStr(0,3, (unsigned char*) "HelTec Automation", (text_size++ % 2));

    if (curtime >= (last_update+update_interval)) {
      last_update = curtime;

      if (do_oled_nok) {
        Refresh_OLED(&u8g2_spi, phase);
        Refresh_OLED(&u8g2_iic, phase);
        Refresh_OLED(&u8g2_nokia, TIMECODE);
        phase = (phase+1)%LAST_IMG;
      }

      uint8_t values[8];
      // decimal seconds
      //values[0] = (curtime/10) % 10;  // milliseconds/10 is hundredth
      //values[1] = (curtime/100) % 10; // milliseconds/100 is tenths.
      int fractional = (curtime % 1000) * 66 / 1000;
      values[0] = fractional % 10; // milliseconds/10 is hundredth
      values[1] = fractional / 10; // milliseconds/100 is tenths.

      uint8_t seconds = curtime/1000 % 60;
      values[2] = seconds % 10;
      values[3] = seconds / 10;

      uint8_t minutes = (curtime/1000 / 60) % 60;
      values[4] = minutes % 10;
      values[5] = minutes / 10;

      uint8_t hours = (curtime/1000 / 60 / 60);
      values[6] = hours % 10;
      values[7] = hours / 10;

      seven_segment_display(values);
    }

    UNUSEDVAR uint32_t finaltime = HAL_GetTick();
    UNUSEDVAR uint32_t elapsed =  finaltime-curtime;
    if (HAL_UART_GetState(&huart1) == HAL_UART_STATE_READY) {
      btoa(elapsed, elapsedmessage+21);
      itoa(amountsent,  elapsedmessage+25);
      HAL_UART_Transmit_IT(&huart1, elapsedmessage, sizeof(elapsedmessage));
    };

    if (((curtime % 1000) != 0) || (curtime == lasttime)) {
      continue;
    }
    lasttime = curtime;

    HAL_I2C_StateTypeDef iicstate =  HAL_I2C_GetState (&hi2c1);
    HAL_UART_StateTypeDef uartstate = HAL_UART_GetState(&huart1);
    if ((iicstate  == HAL_I2C_STATE_READY) &&
        (uartstate == HAL_UART_STATE_READY)) {
#if 0
      // this is basically a I2C address scanner.
      // I used it to verify that oled is at 120 and 121.
      // the actual addresses are half that and the second is simply the other
      // of read/write.

      uint8_t ii2messagealive[] = "I2C channel xxx is alive\n";
      uint8_t ii2messagedead[]  = "I2C channel xxx is dead\n";

      for(uint8_t i=0; i<128; i++) {
        uint8_t pData[] = "hello";
        HAL_StatusTypeDef iicstatus UNUSEDVAR;
        iicstatus = HAL_I2C_Master_Transmit(&hi2c1, i, pData, sizeof(pData), 10);
        if (iicstatus == HAL_OK) {
          byte_at_string(ii2messagealive+12, i);
          HAL_UART_Transmit(&huart1, ii2messagealive, sizeof(ii2messagealive), HAL_MAX_DELAY);
        } else {
          byte_at_string(ii2messagedead+12, i);
          HAL_UART_Transmit(&huart1, ii2messagedead, sizeof(ii2messagedead), HAL_MAX_DELAY);
        }
      }
#endif

    }

#if 0
    if (uartstate == HAL_UART_STATE_READY) {
      HAL_StatusTypeDef tstate UNUSEDVAR;
      if (uart_poll) {
        //tstate = HAL_UART_Transmit(&huart1, themessage, sizeof(themessage), HAL_MAX_DELAY);
        sendUARTmsgPoll(themessage, sizeof(themessage));
      } else {
        tstate = HAL_UART_Transmit_IT(&huart1, theothermessage, sizeof(theothermessage));
      }
      uart_poll = !uart_poll;
      uartstate = HAL_UART_GetState(&huart1);
    }
#endif

#if 0
    HAL_SPI_StateTypeDef spistate =  HAL_SPI_GetState (&hspi1);
    if (spistate == HAL_SPI_STATE_READY) {
      HAL_StatusTypeDef hstatus UNUSEDVAR;
      if (spi_poll) {
        hstatus = HAL_SPI_Transmit (&hspi1, spimessage, sizeof(spimessage), HAL_MAX_DELAY);
      }
      spi_poll = !spi_poll;
      spistate =  HAL_SPI_GetState (&hspi1);
    }
#endif

#if 0
    GPIOC->ODR |= GPIO_PIN_13;
    delayLoop();
    delayLoop();
    GPIOC->ODR &= ~(GPIO_PIN_13);
    delayLoop();
#endif
  }
  /* USER CODE END 3 */

}

/** System Clock Configuration
*/
void SystemClock_Config(void)
{

  RCC_OscInitTypeDef RCC_OscInitStruct;
  RCC_ClkInitTypeDef RCC_ClkInitStruct;

    /**Initializes the CPU, AHB and APB busses clocks
    */
  RCC_OscInitStruct.OscillatorType = RCC_OSCILLATORTYPE_HSE;
  RCC_OscInitStruct.HSEState = RCC_HSE_ON;
  RCC_OscInitStruct.HSEPredivValue = RCC_HSE_PREDIV_DIV1;
  RCC_OscInitStruct.HSIState = RCC_HSI_ON;
  RCC_OscInitStruct.PLL.PLLState = RCC_PLL_ON;
  RCC_OscInitStruct.PLL.PLLSource = RCC_PLLSOURCE_HSE;
  RCC_OscInitStruct.PLL.PLLMUL = RCC_PLL_MUL9;
  if (HAL_RCC_OscConfig(&RCC_OscInitStruct) != HAL_OK)
  {
    _Error_Handler(__FILE__, __LINE__);
  }

    /**Initializes the CPU, AHB and APB busses clocks
    */
  RCC_ClkInitStruct.ClockType = RCC_CLOCKTYPE_HCLK|RCC_CLOCKTYPE_SYSCLK
                              |RCC_CLOCKTYPE_PCLK1|RCC_CLOCKTYPE_PCLK2;
  RCC_ClkInitStruct.SYSCLKSource = RCC_SYSCLKSOURCE_PLLCLK;
  RCC_ClkInitStruct.AHBCLKDivider = RCC_SYSCLK_DIV1;
  RCC_ClkInitStruct.APB1CLKDivider = RCC_HCLK_DIV2;
  RCC_ClkInitStruct.APB2CLKDivider = RCC_HCLK_DIV1;

  if (HAL_RCC_ClockConfig(&RCC_ClkInitStruct, FLASH_LATENCY_2) != HAL_OK)
  {
    _Error_Handler(__FILE__, __LINE__);
  }

    /**Configure the Systick interrupt time
    */
  HAL_SYSTICK_Config(HAL_RCC_GetHCLKFreq()/1000);

    /**Configure the Systick
    */
  HAL_SYSTICK_CLKSourceConfig(SYSTICK_CLKSOURCE_HCLK);

  /* SysTick_IRQn interrupt configuration */
  HAL_NVIC_SetPriority(SysTick_IRQn, 0, 0);
}

void _Error_Handler(char * file, int line)
{
  while(1)
  {
  }
}

/************************ (C) COPYRIGHT STMicroelectronics *****END OF FILE****/
